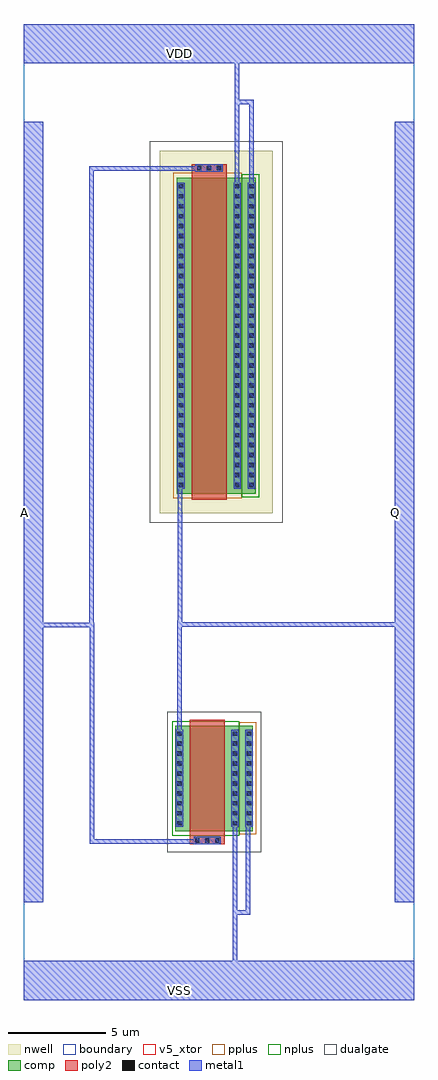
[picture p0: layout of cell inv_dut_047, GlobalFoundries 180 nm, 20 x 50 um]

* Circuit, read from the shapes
.subckt inv_dut_047 A Q VDD VSS
XM1 VSS A Q VSS nfet_05v0 w=5.4u l=1.8u
XM2 VDD A Q VDD pfet_05v0 w=16.2u l=1.8u
.ends

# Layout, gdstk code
import gdstk
lib = gdstk.Library(unit=1e-6, precision=1e-09)
def R(c, l, rs):  # rectangles x0, y0, x1, y1
    for r in rs: c.add(gdstk.rectangle(r[:2], r[2:], *l))
def A(c, l, x, y, w, h, nx, ny, dx, dy):  # array of equal rectangles
    R(c, l, [(x+i*dx, y+j*dy, x+i*dx+w, y+j*dy+h) for i in range(nx) for j in range(ny)])
boundary = (0, 0)
nwell = (21, 0)
comp = (22, 0)
poly2 = (30, 0)
pplus = (31, 0)
nplus = (32, 0)
contact = (33, 0)
metal1 = (34, 0)
dualgate = (55, 0)
v5_xtor = (112, 1)

nfet = lib.new_cell('nfet')
R(nfet, comp, [(-0.42,0,3.55,5.4)])
R(nfet, poly2, [(0.31,-0.66,2.11,5.7)])
R(nfet, pplus, [(2.84,-0.17,3.72,5.57)])
R(nfet, nplus, [(-0.59,-0.24,2.84,5.64)])
A(nfet, contact, 0.59, -0.59, 0.22, 0.22, 3, 1, 0.51, 0)
A(nfet, contact, -0.32, 0.295, 0.22, 0.22, 1, 10, 0, 0.51)
A(nfet, contact, 2.52, 0.295, 0.22, 0.22, 1, 10, 0, 0.51)
A(nfet, contact, 3.23, 0.295, 0.22, 0.22, 1, 10, 0, 0.51)
R(nfet, metal1, [(0.51,-0.67,1.91,-0.29), (-0.4,0.215,-0.02,5.185), (2.44,0.215,2.82,5.185), (3.15,0.215,3.53,5.185)])
R(nfet, dualgate, [(-0.84,-1.08,3.97,6.11)])
R(nfet, v5_xtor, [(-0.84,-1.08,3.97,6.11)])

pfet = lib.new_cell('pfet')
R(pfet, nwell, [(-1.32,-0.99,4.47,17.57)])
R(pfet, comp, [(-0.46,0,3.61,16.2)])
R(pfet, poly2, [(0.31,-0.3,2.11,16.88)])
R(pfet, pplus, [(-0.63,-0.24,2.88,16.44)])
R(pfet, nplus, [(2.88,-0.17,3.78,16.37)])
A(pfet, contact, -0.34, 0.34, 0.22, 0.22, 1, 31, 0, 0.51)
A(pfet, contact, 2.54, 0.34, 0.22, 0.22, 1, 31, 0, 0.51)
A(pfet, contact, 3.27, 0.34, 0.22, 0.22, 1, 31, 0, 0.51)
A(pfet, contact, 0.59, 16.58, 0.22, 0.22, 3, 1, 0.51, 0)
R(pfet, metal1, [(-0.42,0.26,-0.04,15.94), (2.46,0.26,2.84,15.94), (3.19,0.26,3.57,15.94), (0.51,16.5,1.91,16.88)])
R(pfet, dualgate, [(-1.82,-1.49,4.97,18.07)])
R(pfet, v5_xtor, [(-1.82,-1.49,4.97,18.07)])

inv_dut_047 = lib.new_cell('inv_dut_047')
R(inv_dut_047, boundary, [(-10,-25,10,25)])
R(inv_dut_047, metal1, [(-10,-25,10,-23), (-10,-20,-9,20), (9,-20,10,20), (-10,23,10,25)])
inv_dut_047.add(gdstk.FlexPath([(-2.025,-16.025),(-2.025,-5.675),(-1.985,-5.675),(-1.985,-5.675),(-1.985,-5.675)], 0.23, ends="flush", simple_path=True, layer=34, datatype=0))  # metal1
inv_dut_047.add(gdstk.FlexPath([(0.83,-11.35),(0.83,-23.405)], 0.23, ends="flush", simple_path=True, layer=34, datatype=0))  # metal1
inv_dut_047.add(gdstk.FlexPath([(1.665,1.335),(1.665,20.995),(0.795,20.995),(0.795,20.995)], 0.23, ends="flush", simple_path=True, layer=34, datatype=0))  # metal1
inv_dut_047.add(gdstk.FlexPath([(0.925,1.41),(0.925,23.275)], 0.23, ends="flush", simple_path=True, layer=34, datatype=0))  # metal1
inv_dut_047.add(gdstk.FlexPath([(-2.005,16.645),(-2.005,-5.76),(9.345,-5.76),(9.345,-5.8)], 0.23, ends="flush", simple_path=True, layer=34, datatype=0))  # metal1
inv_dut_047.add(gdstk.FlexPath([(-6.53,-5.76),(-6.53,17.6),(0,17.6)], 0.23, ends="flush", simple_path=True, layer=34, datatype=0))  # metal1
inv_dut_047.add(gdstk.FlexPath([(1.495,-11.395),(1.495,-20.505),(0.81,-20.505),(0.81,-20.505)], 0.23, ends="flush", simple_path=True, layer=34, datatype=0))  # metal1
inv_dut_047.add(gdstk.FlexPath([(-9.325,-5.78),(-6.51,-5.78),(-6.51,-16.875),(-0.085,-16.875),(-0.085,-16.875)], 0.23, ends="flush", simple_path=True, layer=34, datatype=0))  # metal1
inv_dut_047.add(gdstk.Reference(nfet, (-1.81,-16.35)))
inv_dut_047.add(gdstk.Reference(pfet, (-1.715,0.935)))
inv_dut_047.add(gdstk.Label('VDD', (-2,23.5), layer=34, texttype=10))
inv_dut_047.add(gdstk.Label('VSS', (-2,-24.5), layer=34, texttype=10))
inv_dut_047.add(gdstk.Label('A', (-9.97,0), layer=34, texttype=10))
inv_dut_047.add(gdstk.Label('Q', (9.03,0), layer=34, texttype=10))

lib.write_gds('inv_dut_047.gds')
